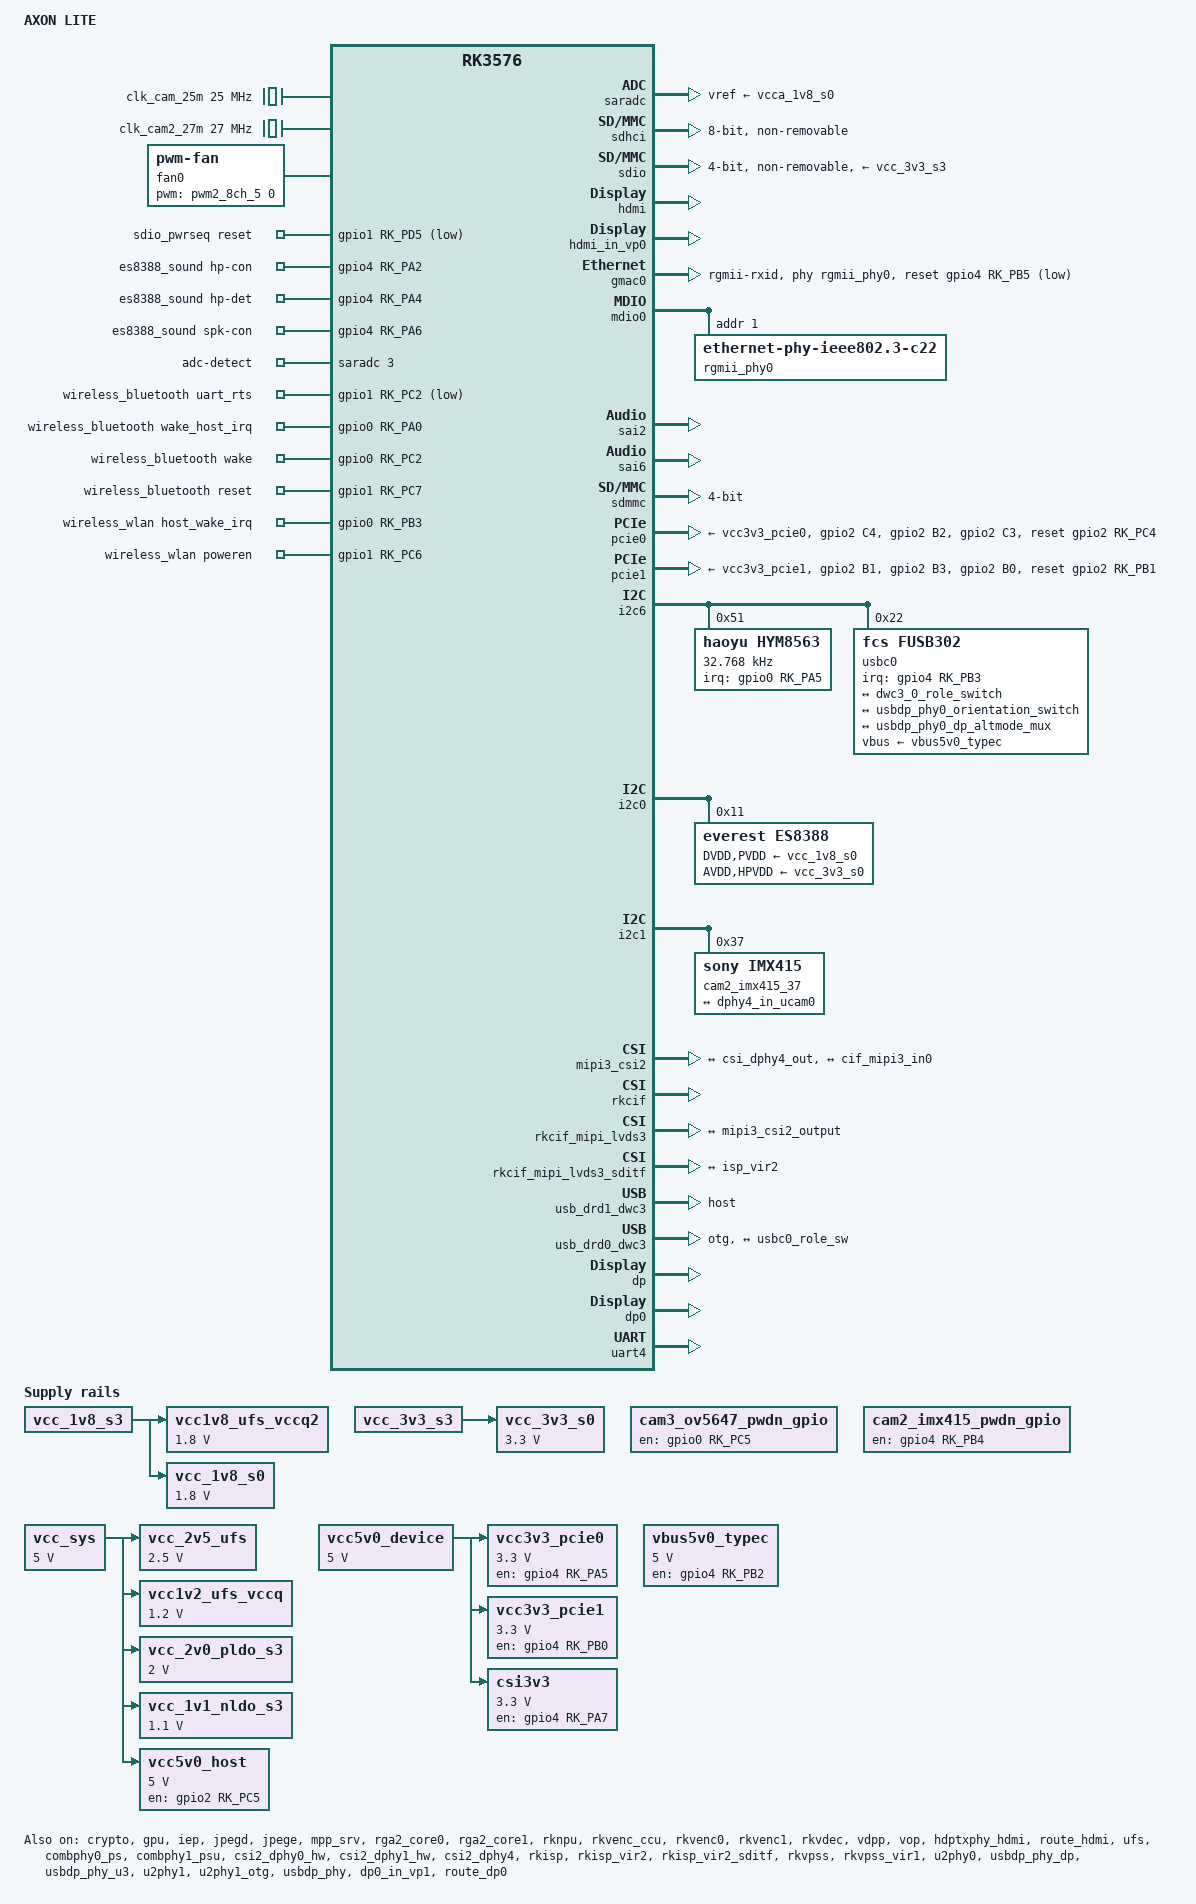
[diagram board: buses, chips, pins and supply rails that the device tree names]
// SPDX-License-Identifier: (GPL-2.0+ OR MIT)


/*
 * Copyright (c) 2024 Rockchip Electronics Co., Ltd.
 * Copyright (c) 2025 Radxa Computer (Shenzhen) Co., Ltd.
 *
 */

/dts-v1/;
#include <dt-bindings/usb/pd.h>
#include <dt-bindings/gpio/gpio.h>
#include <dt-bindings/pwm/pwm.h>
#include <dt-bindings/pinctrl/rockchip.h>
#include <dt-bindings/input/rk-input.h>
#include <dt-bindings/display/drm_mipi_dsi.h>
#include <dt-bindings/display/rockchip_vop.h>
#include <dt-bindings/sensor-dev.h>
#include "rk3576.dtsi"
#include "rk3576-linux.dtsi"
#include "rk3576-rk806.dtsi"

/ {
	model = "AXON LITE";
	compatible = "vicharak,rk3576-axon-lite", "rockchip,rk3576";

	clk_cam_25m: external-camera-clock-25m {
		status = "okay";
		compatible = "fixed-clock";
		clock-frequency = <25000000>;
		clock-output-names = "clk_cam_25m";
		#clock-cells = <0>;
	};

    cam3_ov5647_pwdn_gpio: cam3-pwdn-gpio {
		status = "okay";
		compatible = "regulator-fixed";
		regulator-name = "cam3_pwdn_gpio";
		regulator-always-on;
		regulator-boot-on;
		enable-active-high;
		gpio = <&gpio0 RK_PC5 GPIO_ACTIVE_HIGH>;
		pinctrl-names = "default";
		pinctrl-0 = <&cam3_pwdn_gpio>;
	};

	cam2_imx415_pwdn_gpio: cam2-pwdn-gpio {
		status = "okay";
		compatible = "regulator-fixed";
		regulator-name = "cam2_pwdn_gpio";
		regulator-always-on;
		regulator-boot-on;
		enable-active-high;
		gpio = <&gpio4 RK_PB4 GPIO_ACTIVE_HIGH>;
		pinctrl-names = "default";
		pinctrl-0 = <&cam2_pwdn_gpio>;
	};

	clk_cam2_27m: external-cam2-clock-27m {
		status = "okay";
		compatible = "fixed-clock";
		clock-frequency = <27000000>;
		clock-output-names = "clk_cam2_27m";
		#clock-cells = <0>;
	};

	fan0: pwm-fan {
		compatible = "pwm-fan";
		#cooling-cells = <2>;
		cooling-levels = <0 64 128 192 255>;
		pwms = <&pwm2_8ch_5 0 60000 0>;
	};

	vcc_sys: vcc5v0-sys {
		compatible = "regulator-fixed";
		regulator-name = "vcc_sys";
		regulator-always-on;
		regulator-boot-on;
		regulator-min-microvolt = <5000000>;
		regulator-max-microvolt = <5000000>;
	};

    vcc_2v5_ufs: vcc-2v5-ufs {
        compatible = "regulator-fixed";
        regulator-name = "vcc_2v5_ufs";
        regulator-min-microvolt = <2500000>;
        regulator-max-microvolt = <2500000>;
        regulator-boot-on;
        regulator-always-on;
        vin-supply = <&vcc_sys>;
    };

	vcc1v2_ufs_vccq: regulator-vcc1v2-ufs-vccq {
		compatible = "regulator-fixed";
		regulator-min-microvolt = <1200000>;
		regulator-max-microvolt = <1200000>;
		regulator-name = "vcc1v2_ufs_vccq";
		vin-supply = <&vcc_sys>;
	};

	vcc1v8_ufs_vccq2: regulator-vcc1v8-ufs-vccq2 {
		compatible = "regulator-fixed";
		regulator-min-microvolt = <1800000>;
		regulator-max-microvolt = <1800000>;
		regulator-name = "vcc1v8_ufs_vccq2";
		vin-supply = <&vcc_1v8_s3>;
	};

	vcc_2v0_pldo_s3: vcc-2v0-pldo-s3 {
		compatible = "regulator-fixed";
		regulator-name = "vcc_2v0_pldo_s3";
		regulator-boot-on;
		regulator-always-on;
		regulator-min-microvolt = <2000000>;
		regulator-max-microvolt = <2000000>;
		vin-supply = <&vcc_sys>;
	};

	vcc_1v1_nldo_s3: vcc-1v1-nldo-s3 {
		compatible = "regulator-fixed";
		regulator-name = "vcc_1v1_nldo_s3";
		regulator-boot-on;
		regulator-always-on;
		regulator-min-microvolt = <1100000>;
		regulator-max-microvolt = <1100000>;
		vin-supply = <&vcc_sys>;
	};

	vcc_1v8_s0: vcc-1v8-s0 {
		compatible = "regulator-fixed";
		regulator-name = "vcc_1v8_s0";
		regulator-boot-on;
		regulator-always-on;
		regulator-min-microvolt = <1800000>;
		regulator-max-microvolt = <1800000>;
		vin-supply = <&vcc_1v8_s3>;
	};

	vcc_3v3_s0: vcc-3v3-s0 {
		compatible = "regulator-fixed";
		regulator-name = "vcc_3v3_s0";
		regulator-boot-on;
		regulator-always-on;
		regulator-min-microvolt = <3300000>;
		regulator-max-microvolt = <3300000>;
		vin-supply = <&vcc_3v3_s3>;
	};

	vcc5v0_host: vcc5v0-host {
		compatible = "regulator-fixed";
		regulator-name = "vcc5v0_host";
		regulator-boot-on;
		regulator-always-on;
		regulator-min-microvolt = <5000000>;
		regulator-max-microvolt = <5000000>;
		enable-active-high;
		gpio = <&gpio2 RK_PC5 GPIO_ACTIVE_HIGH>;
		pinctrl-names = "default";
		pinctrl-0 = <&usb_host_pwren>;
		vin-supply = <&vcc_sys>;
	};

    vcc5v0_device: vcc5v0-device {
		compatible = "regulator-fixed";
		regulator-name = "vcc5v0_device";
		regulator-boot-on;
		regulator-always-on;
		regulator-min-microvolt = <5000000>;
		regulator-max-microvolt = <5000000>;
	};

	vcc3v3_pcie0: vcc3v3-pcie0 {
		compatible = "regulator-fixed";
		regulator-name = "vcc3v3_pcie0";
		regulator-min-microvolt = <3300000>;
		regulator-max-microvolt = <3300000>;
		enable-active-high;
		gpios = <&gpio4 RK_PA5 GPIO_ACTIVE_HIGH>;
		startup-delay-us = <5000>;
		regulator-boot-on;
		regulator-always-on;
		vin-supply = <&vcc5v0_device>;

    };

	vcc3v3_pcie1: vcc3v3-pcie1 {
		compatible = "regulator-fixed";
		regulator-name = "vcc3v3_pcie1";
		regulator-min-microvolt = <3300000>;
		regulator-max-microvolt = <3300000>;
		enable-active-high;
		gpios = <&gpio4 RK_PB0 GPIO_ACTIVE_HIGH>;
		startup-delay-us = <5000>;
		regulator-boot-on;
		regulator-always-on;
		vin-supply = <&vcc5v0_device>;
	};

    csi3v3: csi3v3 {
		compatible = "regulator-fixed";
		regulator-name = "csi3v3";
		regulator-min-microvolt = <3300000>;
		regulator-max-microvolt = <3300000>;
		enable-active-high;
		gpios = <&gpio4 RK_PA7 GPIO_ACTIVE_HIGH>;
		regulator-boot-on;
		regulator-always-on;
		vin-supply = <&vcc5v0_device>;

    };

	sdio_pwrseq: sdio-pwrseq {
		compatible = "mmc-pwrseq-simple";
		clocks = <&hym8563>;
		clock-names = "ext_clock";
		pinctrl-names = "default";
		pinctrl-0 = <&sdio_reset_wifi>;
		reset-gpios = <&gpio1 RK_PD5 GPIO_ACTIVE_LOW>;
		status = "okay";
	};
		
	hdmi_sound: hdmi-sound {
		compatible = "rockchip,hdmi";
		rockchip,mclk-fs = <128>;
		rockchip,card-name = "rockchip-hdmi0";
		rockchip,cpu = <&sai6>;
		rockchip,codec = <&hdmi>;
		rockchip,jack-det;
	};

	vbus5v0_typec: vbus5v0-typec {
		compatible = "regulator-fixed";
		regulator-name = "vbus5v0_typec";
		regulator-min-microvolt = <5000000>;
		regulator-max-microvolt = <5000000>;
		enable-active-high;
		gpio = <&gpio4 RK_PB2 GPIO_ACTIVE_HIGH>;
		pinctrl-names = "default";
		pinctrl-0 = <&usb_otg0_pwren>;
	};


//        vcc5v0_otg: vcc5v0-otg {
//                compatible = "regulator-fixed";
//                regulator-name = "vcc5v0_otg";
//                regulator-min-microvolt = <5000000>;
//                regulator-max-microvolt = <5000000>;
//                enable-active-high;
//                gpio = <&gpio2 RK_PD2 GPIO_ACTIVE_HIGH>;
//                pinctrl-names = "default";
//                pinctrl-0 = <&usb_otg_pwren>;
//                vin-supply = <&vcc_sys>;
//        };
//
	es8388_sound: es8388-sound {
		status = "okay";
		compatible = "rockchip,multicodecs-card";

		rockchip,card-name = "rockchip-es8388";
		hp-con-gpio = <&gpio4 RK_PA2 GPIO_ACTIVE_HIGH>;
		hp-det-gpio = <&gpio4 RK_PA4 GPIO_ACTIVE_HIGH>;
		spk-con-gpio = <&gpio4 RK_PA6 GPIO_ACTIVE_HIGH>;

		io-channels = <&saradc 3>;
		io-channel-names = "adc-detect";
		keyup-threshold-microvolt = <1800000>;
		poll-interval = <100>;

		rockchip,pre-power-on-delay-ms = <30>;
		rockchip,post-power-down-delay-ms = <40>;
		rockchip,format = "i2s";
		rockchip,mclk-fs = <256>;
		rockchip,cpu = <&sai2>;
		rockchip,codec = <&es8388>;
		rockchip,audio-routing =
			"Headphone", "LOUT1",
			"Headphone", "ROUT1",
			"Speaker", "LOUT2",
			"Speaker", "ROUT2",
			"Headphone", "Headphone Power",
			"Headphone", "Headphone Power",
			"Speaker", "Speaker Power",
			"Speaker", "Speaker Power",
			"LINPUT1", "Main Mic",
			"LINPUT2", "Main Mic",
			"RINPUT1", "Headset Mic",
			"RINPUT2", "Headset Mic";

		pinctrl-names = "default";
		pinctrl-0 = <&hp_det>;

		//play-pause-key {
		//	label = "playpause";
		//	linux,code = <KEY_PLAYPAUSE>;
		//	press-threshold-microvolt = <2000>;
		//};

	};

	gpio-leds {
		compatible = "gpio-leds";

		/* power-led { */
		/* 	gpios = <&gpio3 RK_PC1 GPIO_ACTIVE_HIGH>; */
		/* 	linux,default-trigger = "default-on"; */
		/* }; */

		/* user-led { */
		/* 	gpios = <&gpio3 RK_PC4 GPIO_ACTIVE_HIGH>; */
		/* 	linux,default-trigger = "heartbeat"; */
		/* }; */
	};


	wireless_bluetooth: wireless-bluetooth {
		compatible = "bluetooth-platdata";
		clocks = <&hym8563>;
		clock-names = "ext_clock";
		uart_rts_gpios = <&gpio1 RK_PC2 GPIO_ACTIVE_LOW>;
		pinctrl-names = "default", "rts_gpio";
		pinctrl-0 = <&uart4m1_rtsn>, <&bt_reset_gpio>, <&bt_wake_gpio>,
					<&bt_irq_gpio>;
		pinctrl-1 = <&uart4_gpios>;
		BT,wake_host_irq = <&gpio0 RK_PA0 GPIO_ACTIVE_HIGH>;
		BT,wake_gpio     = <&gpio0 RK_PC2 GPIO_ACTIVE_HIGH>;
		BT,reset_gpio    = <&gpio1 RK_PC7 GPIO_ACTIVE_HIGH>;
		status = "okay";
	};

	wireless_wlan: wireless-wlan {
		compatible = "wlan-platdata";
		wifi_chip_type = "rtl8852bs";
		pinctrl-names = "default";
		pinctrl-0 = <&wifi_host_wake_irq>, <&wifi_poweren_gpio>;
		WIFI,host_wake_irq = <&gpio0 RK_PB3 GPIO_ACTIVE_HIGH>; //WIFI WAKE HOST
		WIFI,poweren_gpio = <&gpio1 RK_PC6 GPIO_ACTIVE_HIGH>;  //WIFI REG ON
		status = "okay";
	};


};

&cpu_l0 {
	cpu-supply = <&vdd_cpu_lit_s0>;
};

&cpu_b0 {
	cpu-supply = <&vdd_cpu_big_s0>;
};

&crypto {
	status = "okay";
};

&gpu {
	mali-supply = <&vdd_gpu_s0>;
	status = "okay";
};

&iep {
	status = "okay";
};

&iep_mmu {
	status = "okay";
};

&jpegd {
	status = "okay";
};

&jpege {
	status = "okay";
};

&jpeg_mmu {
	status = "okay";
};

&mpp_srv {
	status = "okay";
};

&rga2_core0 {
	status = "okay";
};

&rga2_core0_mmu {
	status = "okay";
};

&rga2_core1 {
	status = "okay";
};

&rga2_core1_mmu {
	status = "okay";
};

&rknpu {
	rknpu-supply = <&vdd_npu_s0>;
	status = "okay";
};

&rknpu_mmu {
	status = "okay";
};

&rkvenc_ccu {
	status = "okay";
};

&rkvenc0 {
	status = "okay";
};

&rkvenc0_mmu {
	status = "okay";
};

&rkvenc1 {
	status = "okay";
};

&rkvenc1_mmu {
	status = "okay";
};

&rkvdec {
	status = "okay";
};

&rkvdec_mmu {
	status = "okay";
};

&rockchip_suspend {
	status = "okay";
	rockchip,sleep-debug-en = <1>;

	rockchip,sleep-io-ret-config = <
		(0
		| RKPM_VCCIO3_RET_EN
		)
	>;

	rockchip,regulator-on-before-mem = <&vdd_npu_s0>;
};

&vdd_logic_s0 {
	regulator-state-mem {
		regulator-on-in-suspend;
	};
};

&vcca_1v8_s0 {
	regulator-state-mem {
		regulator-on-in-suspend;
	};
};

&saradc {
	status = "okay";
	vref-supply = <&vcca_1v8_s0>;
};

&tsadc {
	status = "disabled";
};

&threshold {
	temperature = <60000>;
};

&little_core_thermal {
	sustainable-power = <5000>; /* milliwatts */
	cooling-maps {
		map3 {
			trip = <&target>;
			cooling-device =
				<&fan0 THERMAL_NO_LIMIT THERMAL_NO_LIMIT>;
			contribution = <8192>;
		};
		map4 {
			trip = <&threshold>;
			cooling-device =
				<&fan0 THERMAL_NO_LIMIT THERMAL_NO_LIMIT>;
			contribution = <8192>;
		};
	};
};

&sdhci {
	bus-width = <8>;
	no-sdio;
	no-sd;
	non-removable;
	max-frequency = <200000000>;
	mmc-hs400-1_8v;
	mmc-hs400-enhanced-strobe;
	full-pwr-cycle-in-suspend;
	status = "okay";
};

&sdio {
	max-frequency = <150000000>;
	no-sd;
	no-mmc;
	bus-width = <4>;
	disable-wp;
	cap-sd-highspeed;
	cap-sdio-irq;
	keep-power-in-suspend;
	mmc-pwrseq = <&sdio_pwrseq>;
	non-removable;
	pinctrl-names = "default";
	//pinctrl-0 = <&sdmmc1>;
	pinctrl-0 = <&sdmmc1m0_bus4 &sdmmc1m0_clk &sdmmc1m0_cmd>;
	vmmc-supply = <&vcc_3v3_s3>;
	vqmmc-supply = <&vcc_1v8_s3>;
	status = "okay";
};


&vdpp {
	status = "okay";
};

&vop {
	status = "okay";
	vop-supply = <&vdd_logic_s0>;
};

&vop_mmu {
	status = "okay";
};

&vp2 {
	assigned-clocks = <&cru DCLK_VP2_SRC>;
	assigned-clock-parents = <&cru PLL_VPLL>;
};

&display_subsystem {
	clocks = <&hdptxphy_hdmi>;
	clock-names = "hdmi0_phy_pll";
};

&hdmi {
	status = "okay";
	cec-enable;
	enable-gpios = <&gpio0 RK_PD0 GPIO_ACTIVE_HIGH>;
};

&hdmi_in_vp0 {
	status = "okay";
};

&hdptxphy_hdmi {
	status = "okay";
};

&route_hdmi {
	status = "okay";
	connect = <&vp0_out_hdmi>;
};

&vp0 {
	rockchip,plane-mask = <(1 << ROCKCHIP_VOP2_CLUSTER0 | 1 << ROCKCHIP_VOP2_ESMART0)>;
	rockchip,primary-plane = <ROCKCHIP_VOP2_CLUSTER0>;
	cursor-win-id = <ROCKCHIP_VOP2_ESMART0>;
};

&vp1 {
	rockchip,plane-mask = <(1 << ROCKCHIP_VOP2_CLUSTER1 | 1 << ROCKCHIP_VOP2_ESMART1)>;
	rockchip,primary-plane = <ROCKCHIP_VOP2_CLUSTER1>;
	cursor-win-id = <ROCKCHIP_VOP2_ESMART1>;
};

&vp2 {
	rockchip,plane-mask = <(1 << ROCKCHIP_VOP2_ESMART2 | 1 << ROCKCHIP_VOP2_ESMART3)>;
	rockchip,primary-plane = <ROCKCHIP_VOP2_ESMART2>;
	cursor-win-id = <ROCKCHIP_VOP2_ESMART3>;
};

&gmac0 {
	/* Use rgmii-rxid mode to disable rx delay inside Soc */
	phy-mode = "rgmii-rxid";
	clock_in_out = "output";

	snps,reset-gpio = <&gpio4 RK_PB5 GPIO_ACTIVE_LOW>;
	snps,reset-active-low;
	/* Reset time is 20ms, 100ms for rtl8211f */
	snps,reset-delays-us = <0 20000 100000>;

	pinctrl-names = "default";
	pinctrl-0 = <&eth0m0_miim
		     &eth0m0_tx_bus2
		     &eth0m0_rx_bus2
		     &eth0m0_rgmii_clk
		     &eth0m0_rgmii_bus
		     &ethm0_clk0_25m_out>;


	tx_delay = <0x20>;
	rx_delay = <0x00>;

	phy-handle = <&rgmii_phy0>;
	status = "okay";
};

&mdio0 {
	status = "okay";
	rgmii_phy0: phy@1 {
		compatible = "ethernet-phy-ieee802.3-c22";
		reg = <0x1>;
		clocks = <&cru REFCLKO25M_GMAC0_OUT>;
	};
};

&sai2 {
	status = "okay";
	pinctrl-names = "default";
	pinctrl-0 = <&sai2m0_lrck
		     &sai2m0_sclk
		     &sai2m0_sdi
		     &sai2m0_sdo>;
};

&sai6 {
	status = "okay";
};

&ufs {
    status = "okay";
    reset-gpios = <&gpio4 RK_PD0 GPIO_ACTIVE_LOW>;
};

&sdmmc {
	max-frequency = <200000000>;
	no-sdio;
	no-mmc;
	bus-width = <4>;
	cap-mmc-highspeed;
	cap-sd-highspeed;
	disable-wp;
	sd-uhs-sdr104;
	vqmmc-supply = <&vccio_sd_s0>;
	status = "okay";
};

&combphy0_ps {
	status = "okay";
};

&combphy1_psu {
	status = "okay";
};

&pcie0 {
	reset-gpios = <&gpio2 RK_PC4 GPIO_ACTIVE_HIGH>;
	rockchip,skip-scan-in-resume;
    pinctrl-names = "default";
	pinctrl-0 = <&pcie0_rst &pcie0_clkreq &pcie0_wake>;
	vpcie3v3-supply = <&vcc3v3_pcie0>;
	status = "okay";
};

&pcie1 {
	reset-gpios = <&gpio2 RK_PB1 GPIO_ACTIVE_HIGH>;
	rockchip,skip-scan-in-resume;
	pinctrl-names = "default";
	pinctrl-0 = <&pcie1_rst &pcie1_clkreq &pcie1_wake>;
	vpcie3v3-supply = <&vcc3v3_pcie1>;
	status = "okay";
};

/* &i2c1 { */
/* 	status = "okay"; */
/* 	pinctrl-names = "default"; */
/* 	pinctrl-0 = <&i2c1m1_xfer>; */

/* }; */

&i2c6 {
	status = "okay";
	pinctrl-names = "default";
	pinctrl-0 = <&i2c6m3_xfer>;

	hym8563: hym8563@51 {
		compatible = "haoyu,hym8563";
		reg = <0x51>;
		#clock-cells = <0>;
		clock-frequency = <32768>;
		clock-output-names = "hym8563";
		pinctrl-names = "default";
		pinctrl-0 = <&hym8563_int>;
		interrupt-parent = <&gpio0>;
		interrupts = <RK_PA5 IRQ_TYPE_LEVEL_LOW>;
		wakeup-source;
	};

	usbc0: fusb302@22 {
		compatible = "fcs,fusb302";
		reg = <0x22>;
		interrupt-parent = <&gpio4>;
		interrupts = <RK_PB3 IRQ_TYPE_LEVEL_LOW>;
		pinctrl-names = "default";
		pinctrl-0 = <&usbc0_int>;
		vbus-supply = <&vbus5v0_typec>;
		status = "okay";
        //sel-gpios = <&gpio4 RK_PA1 GPIO_ACTIVE_HIGH>;
		//role-gpios = <&gpio4 RK_PA0 GPIO_ACTIVE_HIGH>;
		ports {
			#address-cells = <1>;
			#size-cells = <0>;
			port@0 {
			reg = <0>;
			usbc0_role_sw: endpoint@0 {
				remote-endpoint = <&dwc3_0_role_switch>;
				};
			};
		};

		usb_con: connector {
			compatible = "usb-c-connector";
			label = "USB-C";
			data-role = "dual";
			power-role = "dual";
			try-power-role = "sink";
			op-sink-microwatt = <1000000>;

			sink-pdos =
				<PDO_FIXED(5000, 1000, PDO_FIXED_USB_COMM)>;
			source-pdos =
				<PDO_FIXED(5000, 3000, PDO_FIXED_USB_COMM)>;

			altmodes {
				#address-cells = <1>;
				#size-cells = <0>;

				altmode@0 {
					reg = <0>;
					svid = <0xff01>;
					vdo = <0xffffffff>;
				};
			};

			ports {
				#address-cells = <1>;
				#size-cells = <0>;

				port@0 {
					reg = <0>;
					usbc0_orien_sw: endpoint {
						remote-endpoint = <&usbdp_phy0_orientation_switch>;
					};
				};

				port@1 {
					reg = <1>;
					dp_altmode_mux: endpoint {
						remote-endpoint = <&usbdp_phy0_dp_altmode_mux>;
					};
				};
			};
		};
	};

};

&i2c0 {
	status = "okay";

	es8388: es8388@11 {
		status = "okay";
		#sound-dai-cells = <0>;
		compatible = "everest,es8388", "everest,es8323";
		reg = <0x11>;
		clocks = <&mclkout_sai2>;
		clock-names = "mclk";
		assigned-clocks = <&mclkout_sai2>;
		assigned-clock-rates = <12288000>;
		pinctrl-names = "default";
		pinctrl-0 = <&sai2m0_mclk>;
		DVDD-supply = <&vcc_1v8_s0>;
		AVDD-supply = <&vcc_3v3_s0>;
		PVDD-supply = <&vcc_1v8_s0>;
		HPVDD-supply = <&vcc_3v3_s0>;

	};
};

&i2c1 {
    status = "okay";
	pinctrl-names = "default";
	pinctrl-0 = <&i2c1m1_xfer>;
	#address-cells = <1>;
	#size-cells = <0>;

	cam2_imx415_37: cam2-imx415@37 {
		status = "okay";
		compatible = "sony,imx415";
		reg = <0x37>;

		clocks = <&clk_cam2_27m>;
        //reg = <0x1a>;
	//	clocks = <&cru CLK_MIPI_CAMERAOUT_M1>;
		clock-names = "xvclk";
      //  pinctrl-names = "default";
	//	pinctrl-0 = <&cam_clk1m0_clk1>;
        //power-domains = <&power RK3576_PD_VI>;

		rockchip,camera-module-index = <2>;
		rockchip,camera-module-facing = "front";
		rockchip,camera-module-name = "RADXA-CAMERA-4K";
		rockchip,camera-module-lens-name = "DEFAULT";
        port {
			cam2_imx415_out0: endpoint {
				remote-endpoint = <&dphy4_in_ucam0>;
				data-lanes = <1 2>;
			};
		};
	};

};

/* ── 2. I2C bus with sensor ───────────────────────────────────── */
/* &i2c2 { */
/* 	status = "okay"; */
/* 	pinctrl-names = "default"; */
/* 	pinctrl-0 = <&i2c2m0_xfer>; */
/* 	#address-cells = <1>; */
/* 	#size-cells = <0>; */

/* 	ov5647: ov5647@36 { */
/* 		status = "okay"; */
/* 		compatible = "ovti,ov5647"; */
/* 		reg = <0x36>; */
/* 		clocks = <&clk_cam_25m>; */
/* 		clock-names = "ext_cam_clk"; */

/* 		rockchip,camera-module-index = <0>; */
/* 		rockchip,camera-module-facing = "back"; */
/* 		rockchip,camera-module-name = "ov5647-custom"; */
/* 		rockchip,camera-module-lens-name = "default"; */

/* 		port { */
/* 			ov5647_out0: endpoint { */
/* 				remote-endpoint = <&dphy1_in_ucam0>; */
/* 				data-lanes = <0 1>; */
/* 			}; */
/* 		}; */
/* 	}; */
/* }; */     

/* ── 3. PHY hardware blocks ───────────────────────────────────── */
&csi2_dphy0_hw {
	status = "okay";
};

&csi2_dphy1_hw {
	status = "okay";
};

/* ── 4. DPHY1 pipeline ────────────────────────────────────────── */
&csi2_dphy4 {
	status = "okay";

	ports {
		#address-cells = <1>;
		#size-cells = <0>;

		port@0 {
			reg = <0>;
			#address-cells = <1>;
			#size-cells = <0>;

			dphy4_in_ucam0: endpoint@1 {
				reg = <1>;
				remote-endpoint = <&cam2_imx415_out0>;
				data-lanes = <1 2>;
			};
		};

		port@1 {
			reg = <1>;
			#address-cells = <1>;
			#size-cells = <0>;

			csi_dphy4_out: endpoint@0 {
				reg = <0>;
				remote-endpoint = <&mipi3_csi2_input>;
			};
		};
	};
};

/* ── 5. MIPI CSI2 host ────────────────────────────────────────── */
&mipi3_csi2 {
	status = "okay";

	ports {
		#address-cells = <1>;
		#size-cells = <0>;

		port@0 {
			reg = <0>;
			#address-cells = <1>;
			#size-cells = <0>;

			mipi3_csi2_input: endpoint@1 {
				reg = <1>;
				remote-endpoint = <&csi_dphy4_out>;
			};
		};

		port@1 {
			reg = <1>;
			#address-cells = <1>;
			#size-cells = <0>;

			mipi3_csi2_output: endpoint@0 {
				reg = <0>;
				remote-endpoint = <&cif_mipi3_in0>;
			};
		};
	};
};

/* ── 6. RKCIF ─────────────────────────────────────────────────── */
&rkcif {
	status = "okay";
};

&rkcif_mmu {
	status = "okay";
};

&rkcif_mipi_lvds3 {
	status = "okay";

	port {
		cif_mipi3_in0: endpoint {
			remote-endpoint = <&mipi3_csi2_output>;
		};
	};
};

&rkcif_mipi_lvds3_sditf {
	status = "okay";

	port {
		mipi_lvds3_sditf: endpoint {
			remote-endpoint = <&isp_vir2>;
		};
	};
};

/* ── 7. RKISP ─────────────────────────────────────────────────── */
&rkisp_mmu {
	status = "okay";
};

&rkisp {
	status = "okay";
};

&rkisp_vir2 {
	status = "okay";

	port {
		#address-cells = <1>;
		#size-cells = <0>;

		isp_vir2: endpoint@0 {
			reg = <0>;
			remote-endpoint = <&mipi_lvds3_sditf>;
		};
	};
};

&rkisp_vir2_sditf {
	status = "okay";
};

/* ── 8. RKVPSS ────────────────────────────────────────────────── */
&rkvpss {
	status = "okay";
};

&rkvpss_mmu {
	status = "okay";
};

&rkvpss_vir1 {
	status = "okay";
};

// USB 2.0 PHY 0
&u2phy0 {
	status = "okay";
};

//&u2phy0_otg {
//	vbus-supply = <&vcc5v0_otg>;
//	status = "okay";
//};
//
&usbdp_phy_dp {
	status = "okay";
};

&usbdp_phy_u3 {
	status = "okay";
};

// USB 2.0 PHY 1
&u2phy1 {
	status = "okay";
};

&u2phy1_otg {
	phy-supply = <&vcc5v0_host>;
	status = "okay";
};

&usb_drd1_dwc3 {
	dr_mode = "host";
	status = "okay";
};

&usbdp_phy {
	status = "okay";
	orientation-switch;
	svid = <0xff01>;
	sbu1-dc-gpios = <&gpio4 RK_PC4 GPIO_ACTIVE_HIGH>;
	sbu2-dc-gpios = <&gpio4 RK_PC5 GPIO_ACTIVE_HIGH>;

	port {
		#address-cells = <1>;
		#size-cells = <0>;
		usbdp_phy0_orientation_switch: endpoint@0 {
			reg = <0>;
			remote-endpoint = <&usbc0_orien_sw>;
		};

		usbdp_phy0_dp_altmode_mux: endpoint@1 {
			reg = <1>;
			remote-endpoint = <&dp_altmode_mux>;
		};
	};
};


&usb_drd0_dwc3 {
	status = "okay";
	dr_mode = "otg";
	usb-role-switch;

	port {
		#address-cells = <1>;
		#size-cells = <0>;
		dwc3_0_role_switch: endpoint@0 {
			reg = <0>;
			remote-endpoint = <&usbc0_role_sw>;
		};
	};
};

&dp {
	status = "okay";
};

&dp0 {
	status = "okay";
};

&dp0_in_vp1 {
	status = "okay";
};

&route_dp0 {
	status = "okay";
	connect = <&vp1_out_dp0>;
};

&uart4 {
	pinctrl-names = "default";
	pinctrl-0 = <&uart4m1_xfer &uart4m1_ctsn>;
	status = "okay";
};

&pinctrl {
   	usb {
		usb_host_pwren: usb-host-pwren {
			rockchip,pins = <2 RK_PC5 RK_FUNC_GPIO &pcfg_pull_none>;
		};

		usb_otg0_pwren: usb-otg0-pwren {
			rockchip,pins = <4 RK_PB2 RK_FUNC_GPIO &pcfg_pull_none>;
		};

		usbc0_int: usbc0-int {
			rockchip,pins = <4 RK_PB3 RK_FUNC_GPIO &pcfg_pull_up>;
		};

		/* usb_role_sel: usb-role-sel { */
		/* 	rockchip,pins = <4 RK_PA0 RK_FUNC_GPIO &pcfg_pull_none>; */
		/* }; */
	};

	hym8563 {
		hym8563_int: hym8563-int {
			rockchip,pins = <0 RK_PA5 RK_FUNC_GPIO &pcfg_pull_up>;
		};
	};

	pcie0 {
        pcie0_rst: pcie0-rst {
			rockchip,pins =
				<2 RK_PC4 RK_FUNC_GPIO &pcfg_pull_none>;
		};

		pcie0_clkreq: pcie0-clkreq {
			rockchip,pins =
				<2 RK_PB2 4 &pcfg_pull_none>;
		};

		pcie0_wake: pcie0-wake {
			rockchip,pins =
				<2 RK_PC3 4 &pcfg_pull_none>;
		};

	};

	pcie1 {
        pcie1_rst: pcie1-rst {
			rockchip,pins =
				<2 RK_PB1 RK_FUNC_GPIO &pcfg_pull_none>;
		};

		pcie1_clkreq: pcie1-clkreq {
			rockchip,pins =
				<2 RK_PB3 4 &pcfg_pull_none>;
		};

		pcie1_wake: pcie1-wake {
			rockchip,pins =
				<2 RK_PB0 4 &pcfg_pull_none>;
		};
	};
	wireless-bluetooth {
		uart4_gpios: uart4-gpios {
			rockchip,pins =
				<1 RK_PC2 RK_FUNC_GPIO &pcfg_pull_none>;
		};

		bt_reset_gpio: bt-reset-gpio {
			rockchip,pins =
				<1 RK_PC7 RK_FUNC_GPIO &pcfg_pull_none>;
		};

		bt_wake_gpio: bt-wake-gpio {
			rockchip,pins =
				<0 RK_PB2 RK_FUNC_GPIO &pcfg_pull_none>;
		};

		bt_irq_gpio: bt-irq-gpio {
			rockchip,pins =
				<0 RK_PA0 RK_FUNC_GPIO &pcfg_pull_none>;
		};
	};

	wireless-wlan {
		sdio_reset_wifi: sdio-reset-wifi {
			rockchip,pins =
				<1 RK_PD5 RK_FUNC_GPIO &pcfg_pull_none>;
		};

		wifi_host_wake_irq: wifi-host-wake-irq {
			rockchip,pins =
				<0 RK_PB3 RK_FUNC_GPIO &pcfg_pull_none>;
		};

		wifi_poweren_gpio: wifi-poweren-gpio {
			rockchip,pins =
				<1 RK_PC6 RK_FUNC_GPIO &pcfg_pull_none>;
		};
	};

	headphone {
		hp_det: hp-det {
			rockchip,pins =
				<4 RK_PA4 RK_FUNC_GPIO &pcfg_pull_none>;
		};
	};
    camera {
		cam3_pwdn_gpio: cam3-pwdn-gpio {
			rockchip,pins = <2 RK_PD1 RK_FUNC_GPIO &pcfg_pull_up>;
		};
		cam2_pwdn_gpio: cam2-pwdn-gpio {
			rockchip,pins = <4 RK_PB4 RK_FUNC_GPIO &pcfg_pull_up>;
		};
	};

};

&gpio0 {
	gpio-line-names =
		/* GPIO0_A0-A3 */
		"", "", "", "",
		/* GPIO0_A4-A7 */
		"", "", "", "",

		/* GPIO0_B0-B3 */
		"", "", "", "",
		/* GPIO0_B4-B7 */
		"", "", "", "",

		/* GPIO0_C0-C3 */
		"", "", "", "",
		/* GPIO0_C4-C7 */
		"", "", "", "",

		/* GPIO0_D0-D3 */
		"", "", "", "",
		/* GPIO0_D4-D7 */
		"PIN_8", "PIN_10", "", "";
};

&gpio1 {
	gpio-line-names =
		/* GPIO1_A0-A3 */
		"", "", "", "",
		/* GPIO1_A4-A7 */
		"", "", "", "",

		/* GPIO1_B0-B3 */
		"", "", "", "",
		/* GPIO1_B4-B7 */
		"PIN_23", "PIN_19", "PIN_21", "PIN_24",

		/* GPIO1_C0-C3 */
		"PIN_26", "PIN_31", "PIN_33", "PIN_7",
		/* GPIO1_C4-C7 */
		"PIN_11", "PIN_15", "PIN_5", "PIN_3",

		/* GPIO1_D0-D3 */
		"PIN_40", "PIN_12", "PIN_35", "PIN_38",
		/* GPIO1_D4-D7 */
		"PIN_36", "PIN_32", "", "";
};

&gpio2 {
	gpio-line-names =
		/* GPIO2_A0-A3 */
		"", "", "", "",
		/* GPIO2_A4-A7 */
		"", "", "", "",

		/* GPIO2_B0-B3 */
		"", "", "", "",
		/* GPIO2_B4-B7 */
		"", "", "PIN_16", "PIN_18",

		/* GPIO2_C0-C3 */
		"PIN_13", "", "", "",
		/* GPIO2_C4-C7 */
		"", "", "", "",

		/* GPIO2_D0-D3 */
		"", "", "", "",
		/* GPIO2_D4-D7 */
		"", "", "", "PIN_22";
};

&gpio3 {
	gpio-line-names =
		/* GPIO3_A0-A3 */
		"", "", "PIN_29", "PIN_37",
		/* GPIO3_A4-A7 */
		"", "", "", "",

		/* GPIO3_B0-B3 */
		"", "", "", "",
		/* GPIO3_B4-B7 */
		"", "", "", "",

		/* GPIO3_C0-C3 */
		"", "", "", "",
		/* GPIO3_C4-C7 */
		"", "", "", "",

		/* GPIO3_D0-D3 */
		"", "", "", "",
		/* GPIO3_D4-D7 */
		"", "", "", "";
};

&gpio4 {
	gpio-line-names =
		/* GPIO4_A0-A3 */
		"", "", "", "",
		/* GPIO4_A4-A7 */
		"", "", "", "",

		/* GPIO4_B0-B3 */
		"", "", "", "",
		/* GPIO4_B4-B7 */
		"", "", "", "",

		/* GPIO4_C0-C3 */
		"", "", "", "",
		/* GPIO4_C4-C7 */
		"", "", "PIN_28", "PIN_27",

		/* GPIO4_D0-D3 */
		"", "", "", "",
		/* GPIO4_D4-D7 */
		"", "", "", "";
};

